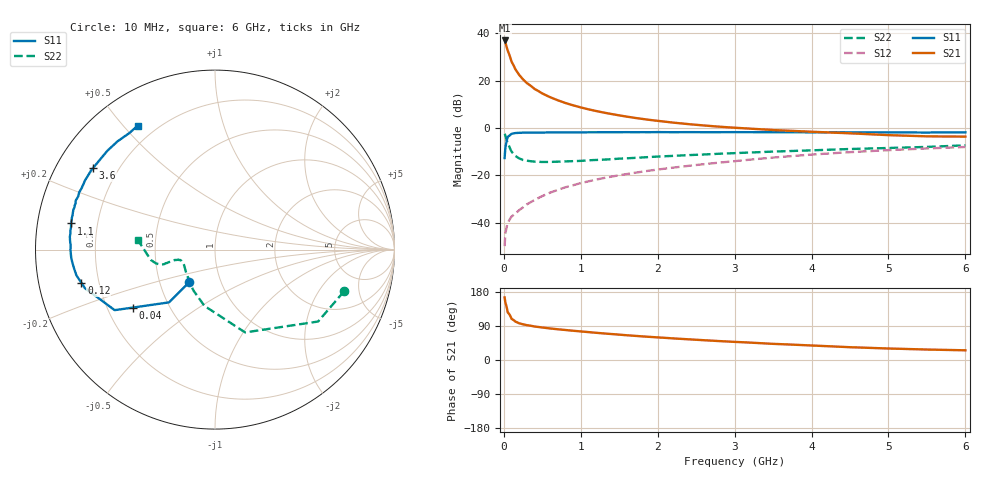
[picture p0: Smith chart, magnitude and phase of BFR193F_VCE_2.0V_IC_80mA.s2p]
! (c) 2017  Infineon Technologies AG, Munich
! Infineon Technologies  Discrete & RF Semiconductors
! BFR193F
! VCE =  2.0 V,  IC =  80 mA
! Common Emitter S-Parameters:  Jan 2017
# GHz  S  MA  R  50
!  f  S11  S21  S12  S22
! GHz  MAG  ANG  MAG  ANG  MAG  ANG  MAG  ANG
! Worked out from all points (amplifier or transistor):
!   77 points, 10 MHz to 6 GHz, reference 50 ohm
!   highest |S21| = 37.0 dB at 10 MHz (marker M1)
!   |S21| within 3 dB of that: start of sweep to 38.67 MHz
!   unconditionally stable (mu >= 1): 363.1 MHz to 2.991 GHz
!   at 130 MHz: K = 0.70, MSG = 31.4 dB, |S12| = -36.6 dB
!   at 2.2 GHz: K = 1.06, MAG = 8.0 dB, |S12| = -16.7 dB
!   at 6 GHz: K = 0.94, MSG = 2.2 dB, |S12| = -8.0 dB
!   S11 on the Smith chart (normalised r, x): 10 MHz: 0.70, -0.27; 40 MHz: 0.31, -0.29; 120 MHz: 0.13, -0.12; 1.1 GHz: 0.10, +0.09; 3.6 GHz: 0.11, +0.30; 6 GHz: 0.13, +0.55
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0.01  0.2323 -128.3  70.96 165.2  0.0032 78.5  0.7554 -18.0
0.02  0.3903 -131.1  64.64 151.4  0.006 67.5  0.7003 -34.9
0.04  0.5606 -144.8  49.33 136.7  0.0085 54.6  0.5354 -55.5
0.05  0.6529 -148.9  43.52 125.8  0.0098 50.7  0.491 -70.0
0.1  0.7559 -163.5  25.34 108.6  0.0135 49.3  0.3192 -100.6
0.12  0.7667 -166.0  22.16 106.3  0.0143 50.9  0.2915 -106.6
0.15  0.7854 -169.5  17.48 101.4  0.0156 53.0  0.2575 -117.8
0.2  0.7938 -173.0  13.25 96.9  0.0185 58.6  0.2286 -128.3
0.25  0.7998 -175.6  10.65 94.1  0.0212 61.5  0.2116 -136.9
0.3  0.8026 -177.1  8.92 91.9  0.0245 64.0  0.2045 -142.3
0.4  0.8052 -179.9  6.706 88.3  0.0302 69.0  0.1952 -150.1
0.5  0.8047 178.3  5.383 85.7  0.0366 70.5  0.1923 -154.5
0.7  0.812 174.9  3.871 81.1  0.0493 73.4  0.1952 -159.8
0.9  0.8124 172.3  3.026 77.2  0.0619 75.2  0.2002 -162.8
1.1  0.8149 169.7  2.491 73.6  0.0749 75.4  0.2086 -163.8
1.5  0.8181 165.5  1.856 66.9  0.1007 75.9  0.2259 -165.1
2.1  0.8201 159.7  1.363 58.4  0.1394 74.7  0.2544 -165.0
3.1  0.8196 151.0  0.995 46.9  0.2075 71.8  0.3 -164.2
3.6  0.8174 146.2  0.894 41.8  0.2455 69.4  0.3224 -165.3
4.1  0.8133 141.3  0.824 37.4  0.282 66.3  0.343 -167.8
5.1  0.8097 130.8  0.701 29.8  0.3476 59.3  0.3835 -177.2
6  0.814 121.9  0.66 25.6  0.3986 53.1  0.432 173.1
